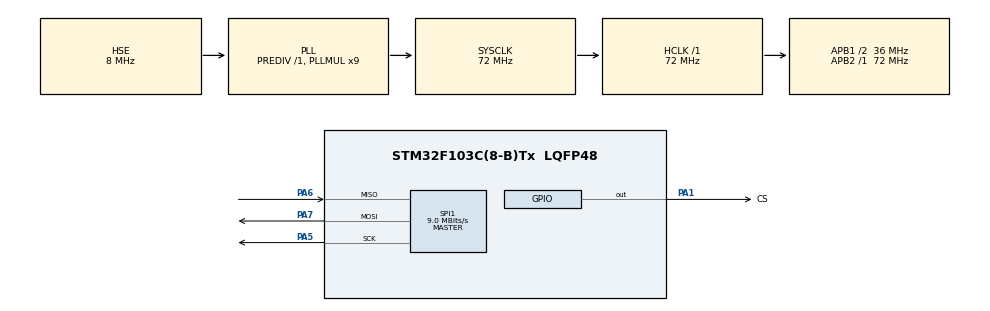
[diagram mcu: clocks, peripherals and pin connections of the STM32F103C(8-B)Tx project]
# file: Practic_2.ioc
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Mcu.Family=STM32F1
Mcu.Name=STM32F103C(8-B)Tx
Mcu.Package=LQFP48
NVIC.PriorityGroup=NVIC_PRIORITYGROUP_4
NVIC.SPI1_IRQn=true\:0\:0\:false\:false\:true\:true\:true
PA1.GPIO_Label=CS
PA1.Signal=GPIO_Output
PA13.Mode=Trace_Asynchronous_SW
PA13.Signal=SYS_JTMS-SWDIO
PA14.Mode=Trace_Asynchronous_SW
PA14.Signal=SYS_JTCK-SWCLK
PA5.Mode=Full_Duplex_Master
PA5.Signal=SPI1_SCK
PA6.Mode=Full_Duplex_Master
PA6.Signal=SPI1_MISO
PA7.Mode=Full_Duplex_Master
PA7.Signal=SPI1_MOSI
PB3.Mode=Trace_Asynchronous_SW
PB3.Signal=SYS_JTDO-TRACESWO
PD0-OSC_IN.Mode=HSE-External-Oscillator
PD0-OSC_IN.Signal=RCC_OSC_IN
PD1-OSC_OUT.Mode=HSE-External-Oscillator
PD1-OSC_OUT.Signal=RCC_OSC_OUT
ProjectManager.HeapSize=0x200
ProjectManager.StackSize=0x400
ProjectManager.TargetToolchain=STM32CubeIDE
RCC.AHBFreq_Value=72000000
RCC.APB1CLKDivider=RCC_HCLK_DIV2
RCC.APB1Freq_Value=36000000
RCC.APB1TimFreq_Value=72000000
RCC.APB2Freq_Value=72000000
RCC.APB2TimFreq_Value=72000000
RCC.HCLKFreq_Value=72000000
RCC.PLLMUL=RCC_PLL_MUL9
RCC.PLLSourceVirtual=RCC_PLLSOURCE_HSE
RCC.SYSCLKFreq_VALUE=72000000
RCC.SYSCLKSource=RCC_SYSCLKSOURCE_PLLCLK
RCC.USBFreq_Value=72000000
SPI1.BaudRatePrescaler=SPI_BAUDRATEPRESCALER_8
SPI1.CalculateBaudRate=9.0 MBits/s
SPI1.DataSize=SPI_DATASIZE_8BIT
SPI1.Direction=SPI_DIRECTION_2LINES
SPI1.Mode=SPI_MODE_MASTER
SPI1.VirtualType=VM_MASTER
board=custom

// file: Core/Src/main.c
/* USER CODE BEGIN Header */
/**
 ******************************************************************************
 * @file           : main.c
 * @brief          : Main program body
 ******************************************************************************
 * @attention
 *
 * <h2><center>&copy; Copyright (c) 2020 STMicroelectronics.
 * All rights reserved.</center></h2>
 *
 * This software component is licensed by ST under BSD 3-Clause license,
 * the "License"; You may not use this file except in compliance with the
 * License. You may obtain a copy of the License at:
 *                        opensource.org/licenses/BSD-3-Clause
 *
 ******************************************************************************
 */
/* USER CODE END Header */
#include "main.h"

/* USER CODE BEGIN Includes */
#include <stdio.h>
#include <stdbool.h>
#include "max7219_lib.h"
bool flag;
int16_t counter;
float A;
unsigned long T;
/* USER CODE END Includes */

SPI_HandleTypeDef hspi1;

void SystemClock_Config(void);
static void MX_GPIO_Init(void);
static void MX_SPI1_Init(void);

/* USER CODE BEGIN 0 */

/*-------------------------------------SWO------------------------------------*/
int _write(int file, uint8_t *ptr, int len) {
	for (int DataIdx = 0; DataIdx < len; DataIdx++) {
		ITM_SendChar(*ptr++);
	}
	return len;
}
/*-------------------------------------SWO------------------------------------*/

/* USER CODE END 0 */

int main(void) {

	/* MCU Configuration--------------------------------------------------------*/

	/* Reset of all peripherals, Initializes the Flash interface and the Systick. */
	HAL_Init();

	/* Configure the system clock */
	SystemClock_Config();

	/* Initialize all configured peripherals */
	MX_GPIO_Init();
	MX_SPI1_Init();
	/* USER CODE BEGIN 2 */
	HAL_Delay(100);
	max7219_Init();
	flag = 0;
	counter = 0;
	A = -25.999f;
	/* USER CODE END 2 */

	/* Infinite loop */
	while (1) {

		/*Привет! Вот небольшой пример применения моей библиотеки.  */
		/*Каждые 2 секунды flag меняется с true на false.           */
		/*В зависимости от флага выбирается и переменная, изменяется*/
		/*и выводится на дисплей.                                   */

		if (HAL_GetTick() - T >= 2000) {
			T = HAL_GetTick();
			flag = !flag;
			if (flag) {
				counter++;
				max7219_Send_int32_t(counter);
			} else {
				A = A + 1.001f;
				max7219_Send_float(A);
			}
		}

	}
}

void SystemClock_Config(void) {
	RCC_OscInitTypeDef RCC_OscInitStruct = { 0 };
	RCC_ClkInitTypeDef RCC_ClkInitStruct = { 0 };

	/** Initializes the RCC Oscillators according to the specified parameters
	 * in the RCC_OscInitTypeDef structure.
	 */
	RCC_OscInitStruct.OscillatorType = RCC_OSCILLATORTYPE_HSE;
	RCC_OscInitStruct.HSEState = RCC_HSE_ON;
	RCC_OscInitStruct.HSEPredivValue = RCC_HSE_PREDIV_DIV1;
	RCC_OscInitStruct.HSIState = RCC_HSI_ON;
	RCC_OscInitStruct.PLL.PLLState = RCC_PLL_ON;
	RCC_OscInitStruct.PLL.PLLSource = RCC_PLLSOURCE_HSE;
	RCC_OscInitStruct.PLL.PLLMUL = RCC_PLL_MUL9;
	if (HAL_RCC_OscConfig(&RCC_OscInitStruct) != HAL_OK) {
		Error_Handler();
	}
	/** Initializes the CPU, AHB and APB buses clocks
	 */
	RCC_ClkInitStruct.ClockType = RCC_CLOCKTYPE_HCLK | RCC_CLOCKTYPE_SYSCLK
			| RCC_CLOCKTYPE_PCLK1 | RCC_CLOCKTYPE_PCLK2;
	RCC_ClkInitStruct.SYSCLKSource = RCC_SYSCLKSOURCE_PLLCLK;
	RCC_ClkInitStruct.AHBCLKDivider = RCC_SYSCLK_DIV1;
	RCC_ClkInitStruct.APB1CLKDivider = RCC_HCLK_DIV2;
	RCC_ClkInitStruct.APB2CLKDivider = RCC_HCLK_DIV1;

	if (HAL_RCC_ClockConfig(&RCC_ClkInitStruct, FLASH_LATENCY_2) != HAL_OK) {
		Error_Handler();
	}
}

static void MX_SPI1_Init(void) {

	/* SPI1 parameter configuration*/
	hspi1.Instance = SPI1;
	hspi1.Init.Mode = SPI_MODE_MASTER;
	hspi1.Init.Direction = SPI_DIRECTION_2LINES;
	hspi1.Init.DataSize = SPI_DATASIZE_8BIT;
	hspi1.Init.CLKPolarity = SPI_POLARITY_LOW;
	hspi1.Init.CLKPhase = SPI_PHASE_1EDGE;
	hspi1.Init.NSS = SPI_NSS_SOFT;
	hspi1.Init.BaudRatePrescaler = SPI_BAUDRATEPRESCALER_8;
	hspi1.Init.FirstBit = SPI_FIRSTBIT_MSB;
	hspi1.Init.TIMode = SPI_TIMODE_DISABLE;
	hspi1.Init.CRCCalculation = SPI_CRCCALCULATION_DISABLE;
	hspi1.Init.CRCPolynomial = 10;
	if (HAL_SPI_Init(&hspi1) != HAL_OK) {
		Error_Handler();
	}

}

static void MX_GPIO_Init(void) {
	GPIO_InitTypeDef GPIO_InitStruct = { 0 };

	/* GPIO Ports Clock Enable */
	__HAL_RCC_GPIOD_CLK_ENABLE();
	__HAL_RCC_GPIOA_CLK_ENABLE();
	__HAL_RCC_GPIOB_CLK_ENABLE();

	/*Configure GPIO pin Output Level */
	HAL_GPIO_WritePin(CS_GPIO_Port, CS_Pin, GPIO_PIN_RESET);

	/*Configure GPIO pin : CS_Pin */
	GPIO_InitStruct.Pin = CS_Pin;
	GPIO_InitStruct.Mode = GPIO_MODE_OUTPUT_PP;
	GPIO_InitStruct.Pull = GPIO_NOPULL;
	GPIO_InitStruct.Speed = GPIO_SPEED_FREQ_LOW;
	HAL_GPIO_Init(CS_GPIO_Port, &GPIO_InitStruct);

}

void Error_Handler(void) {
}

/************************ (C) COPYRIGHT STMicroelectronics *****END OF FILE****/
